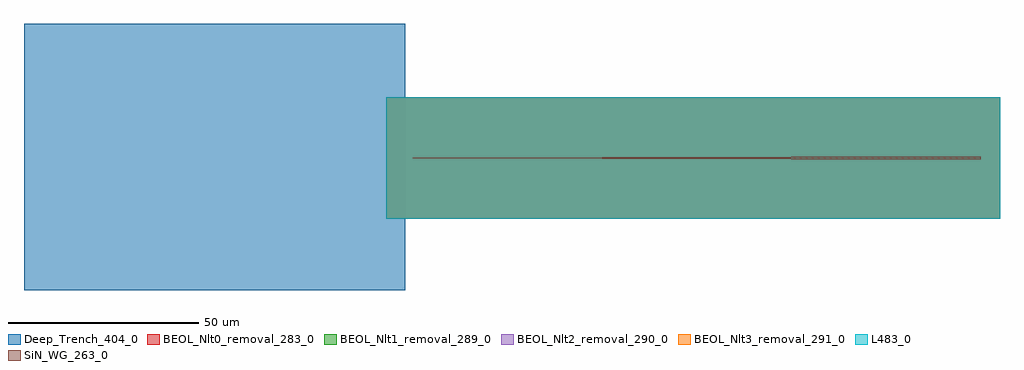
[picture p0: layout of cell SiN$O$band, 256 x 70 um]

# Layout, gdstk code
import gdstk
lib = gdstk.Library(unit=1e-6, precision=1e-09)
def R(c, l, rs):  # rectangles x0, y0, x1, y1
    for r in rs: c.add(gdstk.rectangle(r[:2], r[2:], *l))
def P(c, l, *ps):  # polygons
    for p in ps: c.add(gdstk.Polygon(p, *l))
SiN_WG_263_0 = (263, 0)
BEOL_Nlt0_removal_283_0 = (283, 0)
BEOL_Nlt1_removal_289_0 = (289, 0)
BEOL_Nlt2_removal_290_0 = (290, 0)
BEOL_Nlt3_removal_291_0 = (291, 0)
Deep_Trench_404_0 = (404, 0)
L483_0 = (483, 0)

sin_o_band = lib.new_cell('SiN$O$band')
P(sin_o_band, SiN_WG_263_0, [(251,34.221),(102,34.646),(102,34.796),(251,35.221)])
R(sin_o_band, BEOL_Nlt0_removal_283_0, [(95,18.791,256,50.651)])
R(sin_o_band, BEOL_Nlt1_removal_289_0, [(95,18.791,256,50.651)])
R(sin_o_band, BEOL_Nlt2_removal_290_0, [(95,18.791,256,50.651)])
R(sin_o_band, BEOL_Nlt3_removal_291_0, [(95,18.791,256,50.651)])
R(sin_o_band, Deep_Trench_404_0, [(0,0,100,70)])
R(sin_o_band, L483_0, [(95,18.791,256,50.651)])

lib.write_gds('SiN_O_band.gds')
